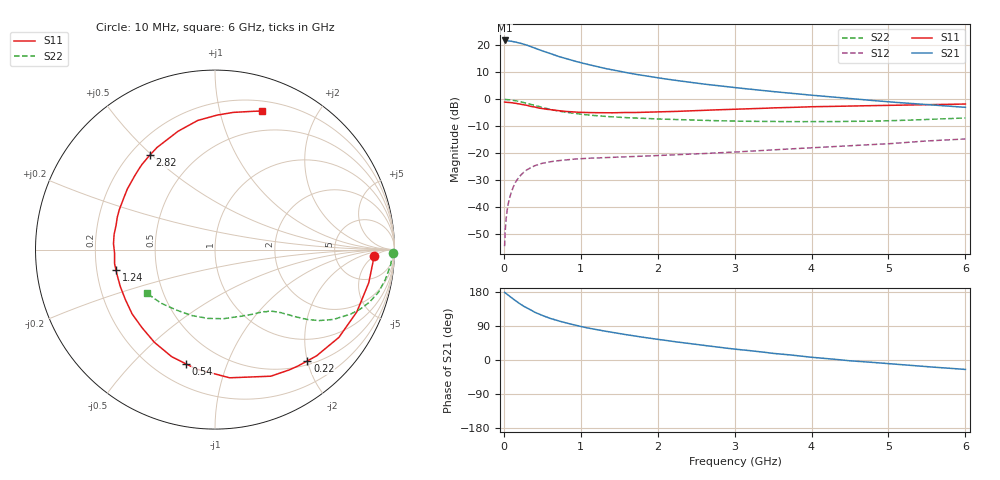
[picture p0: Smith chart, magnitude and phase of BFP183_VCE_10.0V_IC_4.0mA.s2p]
! Infineon Technologies  Discrete & RF Semiconductors
! BFP183
! VCE = 10.0V,  IC =  4.0 mA
! Common Emitter S-Parameters:  Jan 2016
# GHz  S  MA  R  50
!  f  S11  S21  S12  S22
! GHz  MAG  ANG  MAG  ANG  MAG  ANG  MAG  ANG
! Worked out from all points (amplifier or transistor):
!   210 points, 10 MHz to 6 GHz, reference 50 ohm
!   highest |S21| = 21.8 dB at 10 MHz (marker M1)
!   |S21| within 3 dB of that: start of sweep to 419.5 MHz
!   unconditionally stable (mu >= 1): 1.808 GHz to 5.851 GHz
!   at 185 MHz: K = 0.14, MSG = 25.1 dB, |S12| = -29.3 dB
!   at 1.52 GHz: K = 0.88, MSG = 15.8 dB, |S12| = -21.4 dB
!   at 6 GHz: K = 0.97, MSG = 5.9 dB, |S12| = -14.7 dB
!   S11 on the Smith chart (normalised r, x): 10 MHz: 15, -5; 220 MHz: 0.57, -2.00; 540 MHz: 0.32, -0.73; 1.24 GHz: 0.28, -0.10; 2.82 GHz: 0.28, +0.49; 6 GHz: 0.29, +1.35
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0.01  0.8853 -2.4  12.26 178.3  0.0019 79.9  0.9913 -1.0
0.02  0.8826 -4.7  12.23 177.1  0.004 81.1  0.9866 -2.0
0.04  0.8768 -9.7  12.12 173.6  0.0082 83.9  0.984 -3.9
0.1  0.863 -23.7  11.84 164.2  0.0195 76.1  0.9639 -9.9
0.15  0.846 -35.3  11.45 156.7  0.0287 70.4  0.9416 -14.6
0.22  0.8058 -50.3  10.84 146.9  0.0392 63.2  0.8953 -20.1
0.26  0.7874 -58.4  10.43 141.7  0.0445 59.3  0.8662 -23.0
0.3  0.7709 -66.2  10.03 137.3  0.0493 55.7  0.8345 -25.6
0.4  0.7189 -83.5  8.894 126.2  0.0586 48.8  0.766 -30.5
0.5  0.6729 -99.1  7.861 117.3  0.0652 42.8  0.7037 -34.2
0.54  0.6571 -104.2  7.529 114.6  0.0669 40.9  0.6819 -35.2
0.7  0.6171 -123.2  6.268 103.7  0.0726 35.2  0.6081 -38.7
0.84  0.5894 -136.7  5.486 96.2  0.0763 31.9  0.5656 -40.7
1.02  0.5696 -152.6  4.666 87.6  0.0795 28.8  0.5247 -42.8
1.24  0.5632 -168.2  3.926 79.0  0.0821 26.6  0.4907 -45.1
1.5  0.5665 176.7  3.303 69.6  0.0849 25.7  0.4621 -47.8
2.02  0.5818 152.3  2.471 54.0  0.0909 25.3  0.4302 -54.5
2.82  0.6395 124.5  1.76 33.0  0.1023 26.3  0.3991 -68.5
3.1  0.6591 117.0  1.589 26.8  0.1072 26.5  0.3911 -74.2
4.1  0.7294 95.9  1.154 5.5  0.1285 25.9  0.3845 -98.6
5.1  0.7745 81.2  0.874 -11.2  0.1535 24.0  0.4024 -125.0
6  0.8149 71.3  0.708 -24.9  0.1836 18.2  0.4513 -147.5
